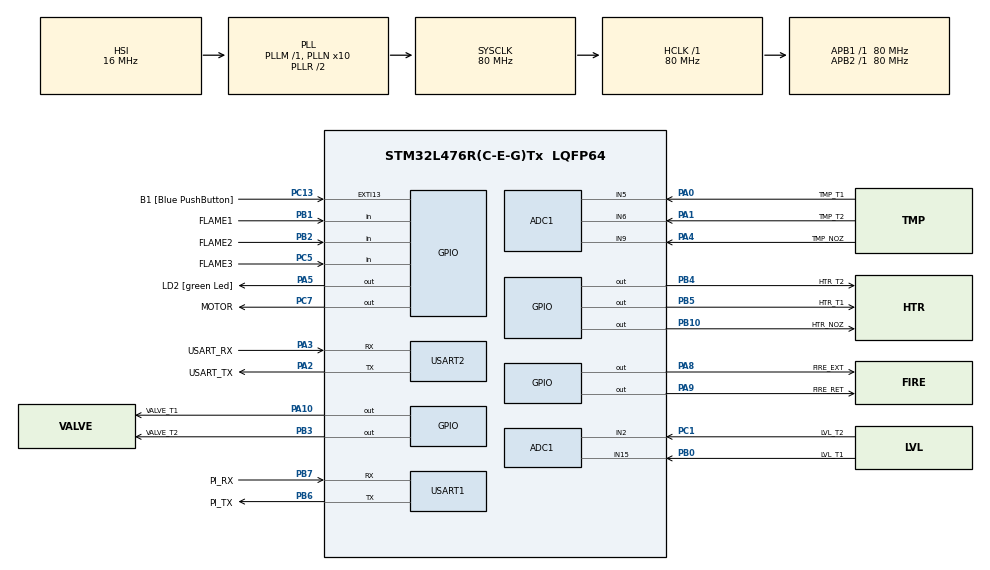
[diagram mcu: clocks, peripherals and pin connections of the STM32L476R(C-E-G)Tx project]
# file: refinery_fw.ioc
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Mcu.Family=STM32L4
Mcu.Name=STM32L476R(C-E-G)Tx
Mcu.Package=LQFP64
ADC1.Channel-0\#ChannelRegularConversion=ADC_CHANNEL_5
ADC1.Channel-1\#ChannelRegularConversion=ADC_CHANNEL_6
ADC1.Channel-2\#ChannelRegularConversion=ADC_CHANNEL_9
ADC1.Channel-3\#ChannelRegularConversion=ADC_CHANNEL_15
ADC1.Channel-4\#ChannelRegularConversion=ADC_CHANNEL_2
ADC1.ClockPrescaler=ADC_CLOCK_SYNC_PCLK_DIV4
ADC1.EOCSelection=ADC_EOC_SINGLE_CONV
ADC1.NbrOfConversion=5
ADC1.NbrOfConversionFlag=1
ADC1.OffsetNumber-0\#ChannelRegularConversion=ADC_OFFSET_NONE
ADC1.OffsetNumber-1\#ChannelRegularConversion=ADC_OFFSET_NONE
ADC1.OffsetNumber-2\#ChannelRegularConversion=ADC_OFFSET_NONE
ADC1.OffsetNumber-3\#ChannelRegularConversion=ADC_OFFSET_NONE
ADC1.OffsetNumber-4\#ChannelRegularConversion=ADC_OFFSET_NONE
ADC1.Rank-0\#ChannelRegularConversion=1
ADC1.Rank-1\#ChannelRegularConversion=2
ADC1.Rank-2\#ChannelRegularConversion=3
ADC1.Rank-3\#ChannelRegularConversion=4
ADC1.Rank-4\#ChannelRegularConversion=5
ADC1.SamplingTime-0\#ChannelRegularConversion=ADC_SAMPLETIME_640CYCLES_5
ADC1.SamplingTime-1\#ChannelRegularConversion=ADC_SAMPLETIME_640CYCLES_5
ADC1.SamplingTime-2\#ChannelRegularConversion=ADC_SAMPLETIME_640CYCLES_5
ADC1.SamplingTime-3\#ChannelRegularConversion=ADC_SAMPLETIME_640CYCLES_5
ADC1.SamplingTime-4\#ChannelRegularConversion=ADC_SAMPLETIME_640CYCLES_5
ADC1.ScanConvMode=ADC_SCAN_ENABLE
ADC1.SingleDiff-0\#ChannelRegularConversion=ADC_SINGLE_ENDED
ADC1.SingleDiff-1\#ChannelRegularConversion=ADC_SINGLE_ENDED
ADC1.SingleDiff-2\#ChannelRegularConversion=ADC_SINGLE_ENDED
ADC1.SingleDiff-3\#ChannelRegularConversion=ADC_SINGLE_ENDED
ADC1.SingleDiff-4\#ChannelRegularConversion=ADC_SINGLE_ENDED
ADC1.master=1
NVIC.PriorityGroup=NVIC_PRIORITYGROUP_4
NVIC.USART1_IRQn=true\:0\:0\:false\:false\:true\:true\:true\:true
NVIC.USART2_IRQn=true\:0\:0\:false\:false\:true\:true\:true\:true
PA13\ (JTMS-SWDIO).GPIO_Label=TMS
PA13\ (JTMS-SWDIO).Mode=Serial_Wire
PA13\ (JTMS-SWDIO).Signal=SYS_JTMS-SWDIO
PA14\ (JTCK-SWCLK).GPIO_Label=TCK
PA14\ (JTCK-SWCLK).Mode=Serial_Wire
PA14\ (JTCK-SWCLK).Signal=SYS_JTCK-SWCLK
PA2.GPIO_Label=USART_TX
PA2.GPIO_Mode=GPIO_MODE_AF_PP
PA2.GPIO_PuPd=GPIO_NOPULL
PA2.GPIO_Speed=GPIO_SPEED_FREQ_VERY_HIGH
PA2.Mode=Asynchronous
PA2.Signal=USART2_TX
PA3.GPIO_Label=USART_RX
PA3.GPIO_Mode=GPIO_MODE_AF_PP
PA3.GPIO_PuPd=GPIO_NOPULL
PA3.GPIO_Speed=GPIO_SPEED_FREQ_VERY_HIGH
PA3.Mode=Asynchronous
PA3.Signal=USART2_RX
PA8.GPIO_Label=FIRE_EXT
PA8.GPIO_ModeDefaultOutputPP=GPIO_MODE_OUTPUT_PP
PA8.GPIO_PuPd=GPIO_NOPULL
PA8.GPIO_Speed=GPIO_SPEED_FREQ_LOW
PA8.Signal=GPIO_Output
PA9.GPIO_Label=FIRE_RET
PA9.GPIO_ModeDefaultOutputPP=GPIO_MODE_OUTPUT_PP
PA9.GPIO_PuPd=GPIO_NOPULL
PA9.GPIO_Speed=GPIO_SPEED_FREQ_LOW
PA9.Signal=GPIO_Output
PA0.GPIO_Label=TMP_T1
PA0.Mode=IN5-Single-Ended
PA0.Signal=ADC1_IN5
PA1.GPIO_Label=TMP_T2
PA1.Mode=IN6-Single-Ended
PA1.Signal=ADC1_IN6
PA4.GPIO_Label=TMP_NOZ
PA4.Mode=IN9-Single-Ended
PA4.Signal=ADC1_IN9
PA10.GPIO_Label=VALVE_T1
PA10.GPIO_ModeDefaultOutputPP=GPIO_MODE_OUTPUT_PP
PA10.GPIO_PuPd=GPIO_NOPULL
PA10.GPIO_Speed=GPIO_SPEED_FREQ_LOW
PA10.Signal=GPIO_Output
PB0.GPIO_Label=LVL_T1
PB0.Mode=IN15-Single-Ended
PB0.Signal=ADC1_IN15
PC1.GPIO_Label=LVL_T2
PC1.Mode=IN2-Single-Ended
PC1.Signal=ADC1_IN2
PB5.GPIO_Label=HTR_T1
PB5.GPIO_ModeDefaultOutputPP=GPIO_MODE_OUTPUT_PP
PB5.GPIO_PuPd=GPIO_NOPULL
PB5.GPIO_Speed=GPIO_SPEED_FREQ_LOW
PB5.Signal=GPIO_Output
PB4.GPIO_Label=HTR_T2
PB4.GPIO_ModeDefaultOutputPP=GPIO_MODE_OUTPUT_PP
PB4.GPIO_PuPd=GPIO_NOPULL
PB4.GPIO_Speed=GPIO_SPEED_FREQ_LOW
PB4.Signal=GPIO_Output
PB10.GPIO_Label=HTR_NOZ
PB10.GPIO_ModeDefaultOutputPP=GPIO_MODE_OUTPUT_PP
PB10.GPIO_PuPd=GPIO_NOPULL
PB10.GPIO_Speed=GPIO_SPEED_FREQ_LOW
PB10.Signal=GPIO_Output
PB6.GPIO_Label=PI_TX
PB6.Mode=Asynchronous
PB6.Signal=USART1_TX
PB7.GPIO_Label=PI_RX
PB7.Mode=Asynchronous
PB7.Signal=USART1_RX
PC7.GPIO_Label=MOTOR
PC7.GPIO_ModeDefaultOutputPP=GPIO_MODE_OUTPUT_PP
PC7.GPIO_PuPd=GPIO_NOPULL
PC7.GPIO_Speed=GPIO_SPEED_FREQ_LOW
PC7.Signal=GPIO_Output
PB1.GPIO_Label=FLAME1
PB1.GPIO_PuPd=GPIO_PULLUP
PB1.Signal=GPIO_Input
PB2.GPIO_Label=FLAME2
PB2.GPIO_PuPd=GPIO_PULLUP
PB2.Signal=GPIO_Input
PC5.GPIO_Label=FLAME3
PC5.GPIO_PuPd=GPIO_PULLUP
PC5.Signal=GPIO_Input
PB3.GPIO_Label=VALVE_T2
PB3.GPIO_ModeDefaultOutputPP=GPIO_MODE_OUTPUT_PP
PB3.GPIO_PuPd=GPIO_NOPULL
PB3.GPIO_Speed=GPIO_SPEED_FREQ_LOW
PB3.Signal=GPIO_Output
PA5.GPIO_Label=LD2 [green Led]
PA5.GPIO_ModeDefaultOutputPP=GPIO_MODE_OUTPUT_PP
PA5.GPIO_PuPd=GPIO_NOPULL
PA5.GPIO_Speed=GPIO_SPEED_FREQ_LOW
PA5.Signal=GPIO_Output
PC13.GPIO_Label=B1 [Blue PushButton]
PC13.GPIO_ModeDefaultEXTI=GPIO_MODE_IT_FALLING
PC13.GPIO_PuPd=GPIO_NOPULL
PC13.Signal=GPXTI13
PC14-OSC32_IN\ (PC14).Mode=LSE-External-Oscillator
PC14-OSC32_IN\ (PC14).Signal=RCC_OSC32_IN
PC15-OSC32_OUT\ (PC15).Mode=LSE-External-Oscillator
PC15-OSC32_OUT\ (PC15).Signal=RCC_OSC32_OUT
PH0-OSC_IN\ (PH0).Signal=RCC_OSC_IN
PH1-OSC_OUT\ (PH1).Signal=RCC_OSC_OUT
ProjectManager.HeapSize=0x200
ProjectManager.StackSize=0x400
ProjectManager.TargetToolchain=STM32CubeIDE
RCC.ADCFreq_Value=64000000
RCC.AHBFreq_Value=80000000
RCC.APB1Freq_Value=80000000
RCC.APB1TimFreq_Value=80000000
RCC.APB2Freq_Value=80000000
RCC.APB2TimFreq_Value=80000000
RCC.CortexFreq_Value=80000000
RCC.HCLKFreq_Value=80000000
RCC.HSE_VALUE=8000000
RCC.HSI_VALUE=16000000
RCC.MSI_VALUE=4000000
RCC.PLLN=10
RCC.PLLSourceVirtual=RCC_PLLSOURCE_HSI
RCC.PREFETCH_ENABLE=1
RCC.SYSCLKFreq_VALUE=80000000
RCC.SYSCLKSource=RCC_SYSCLKSOURCE_PLLCLK
RCC.USBFreq_Value=64000000
RCC.VCOOutputFreq_Value=160000000
USART1.VirtualMode-Asynchronous=VM_ASYNC
USART2.VirtualMode-Asynchronous=VM_ASYNC
board=NUCLEO-L476RG

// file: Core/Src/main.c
/* USER CODE BEGIN Header */
/**
  ******************************************************************************
  * @file           : main.c
  * @brief          : Main program body
  ******************************************************************************
  * @attention
  *
  * Copyright (c) 2026 STMicroelectronics.
  * All rights reserved.
  *
  * This software is licensed under terms that can be found in the LICENSE file
  * in the root directory of this software component.
  * If no LICENSE file comes with this software, it is provided AS-IS.
  *
  ******************************************************************************
  */
/* USER CODE END Header */
#include "main.h"

/* USER CODE BEGIN Includes */
#include <stdio.h>
#include <string.h>
#include <math.h>
#include "control.h"
#include "proto.h"
/* USER CODE END Includes */

/* USER CODE BEGIN PD */
#define ADC_MAX        4095.0f
#define R_FIXED        10000.0f   /* temp divider resistor to GND (ohm) */
#define NTC_R25        10000.0f   /* NTC3950 nominal at 25 C */
#define NTC_BETA       3950.0f
#define NTC_T25_K      298.15f
#define N_SAMPLES      16
#define N_CH           5          /* T1, T2, NOZ, LVL1, LVL2 (ADC rank order) */
#define LVL_R_FIXED    100.0f     /* level divider resistor to GND (ohm) */
#define LVL_R_EMPTY    240.0f     /* American/SAE sender: 240 ohm = empty */
#define LVL_R_FULL     33.0f      /*                       33 ohm  = full  */

/* Flame sensors are not wired yet: 0 = ignore PB1/PB2/PC5 (inputs read as "no flame") and report
 * fire detection as OFF in the status line. Set to 1 once all three sensors are wired and tested. */
#define FLAME_SENSORS_ENABLED  0

#define SAMPLE_MS      100        /* sensor read + control step period */
#define STATUS_MS      1000       /* status line period (REQ-PERF-030) */
#define STATUS_MIN_MS  200        /* earliest extra status line after a change */
#define SAVE_DELAY_MS  5000       /* settings are written this long after the last change */
#define RX_QUEUE       4          /* received command lines waiting for the main loop */
#define UART_TIMEOUT   100

/* Operator settings live here so they survive a reset / power cycle.
 * Last 2K page of bank 2 - kept out of the FLASH region in STM32L476RGTX_FLASH.ld. */
#define STATE_ADDR     0x080FF800UL
#define STATE_BANK     FLASH_BANK_2
#define STATE_PAGE     255
#define STATE_MAGIC    0x57565331UL  /* "WVS1" in the upper word of the first doubleword */
/* USER CODE END PD */

ADC_HandleTypeDef hadc1;

UART_HandleTypeDef huart1;
UART_HandleTypeDef huart2;

/* USER CODE BEGIN PV */
static uint32_t adc_raw[N_CH]; /* T1 A0/PA0, T2 A1/PA1, NOZ A2/PA4, LVL1 A3/PB0, LVL2 A4/PC1 */

static ctl_t ctl;
static ctl_inputs_t inputs;

/* Command lines from the RPi (filled by the USART1 RX interrupt) */
static uint8_t rx_byte;
static char rx_buf[PROTO_LINE_MAX];
static uint8_t rx_len;
static char rx_queue[RX_QUEUE][PROTO_LINE_MAX];
static volatile uint8_t rx_head, rx_tail;

/* Outputs, indexed by bit number of the OUT_* masks in control.h.
 * on_level = pin level that turns the device ON. Relay boards assumed active-HIGH;
 * change to GPIO_PIN_RESET if one turns out to be active-LOW. */
typedef struct {
  GPIO_TypeDef  *port;
  uint16_t       pin;
  GPIO_PinState  on_level;
} Output_t;

static const Output_t outputs[8] = {
  { VALVE_T1_GPIO_Port, VALVE_T1_Pin, GPIO_PIN_SET },   /* OUT_V1 */
  { VALVE_T2_GPIO_Port, VALVE_T2_Pin, GPIO_PIN_SET },   /* OUT_V2 */
  { HTR_T1_GPIO_Port,   HTR_T1_Pin,   GPIO_PIN_SET },   /* OUT_H1 */
  { HTR_T2_GPIO_Port,   HTR_T2_Pin,   GPIO_PIN_SET },   /* OUT_H2 */
  { HTR_NOZ_GPIO_Port,  HTR_NOZ_Pin,  GPIO_PIN_SET },   /* OUT_HNOZ */
  { MOTOR_GPIO_Port,    MOTOR_Pin,    GPIO_PIN_SET },   /* OUT_CENT */
  { FIRE_EXT_GPIO_Port, FIRE_EXT_Pin, GPIO_PIN_SET },   /* OUT_EXT */
  { FIRE_RET_GPIO_Port, FIRE_RET_Pin, GPIO_PIN_SET },   /* OUT_RET */
};

/* Flame sensors (LM393 boards): output pulled LOW when they see flame */
static const struct { GPIO_TypeDef *port; uint16_t pin; } flames[3] = {
  { FLAME1_GPIO_Port, FLAME1_Pin },
  { FLAME2_GPIO_Port, FLAME2_Pin },
  { FLAME3_GPIO_Port, FLAME3_Pin },
};
/* USER CODE END PV */

void SystemClock_Config(void);
static void MX_GPIO_Init(void);
static void MX_USART2_UART_Init(void);
static void MX_ADC1_Init(void);
static void MX_USART1_UART_Init(void);

/* USER CODE BEGIN 0 */
/* Route printf to USART2 (ST-LINK virtual COM port) - debug only, the Pi link is USART1 */
int __io_putchar(int ch)
{
  uint8_t c = (uint8_t)ch;
  HAL_UART_Transmit(&huart2, &c, 1, HAL_MAX_DELAY);
  return ch;
}

/* Drive every output from a bit mask. Extend and retract are both written low first,
 * so the two extinguisher relays are never on together even for one write. */
static void apply_outputs(uint8_t bits)
{
  if (bits & OUT_EXT) bits &= (uint8_t)~OUT_RET;
  for (int pass = 0; pass < 2; pass++)
  {
    for (size_t i = 0; i < 8; i++)
    {
      int on = (bits >> i) & 1U;
      if (on != pass) continue;                       /* pass 0: turn things off, pass 1: on */
      GPIO_PinState off_level = (outputs[i].on_level == GPIO_PIN_SET) ? GPIO_PIN_RESET : GPIO_PIN_SET;
      HAL_GPIO_WritePin(outputs[i].port, outputs[i].pin, on ? outputs[i].on_level : off_level);
    }
  }
}

static uint8_t read_flames(void)
{
  uint8_t bits = 0;
  if (!FLAME_SENSORS_ENABLED) return 0;
  for (int i = 0; i < 3; i++)
  {
    if (HAL_GPIO_ReadPin(flames[i].port, flames[i].pin) == GPIO_PIN_RESET) bits |= (uint8_t)(1U << i);
  }
  return bits;
}

/* Average N_SAMPLES scans of the N_CH channels (order = ADC rank order) */
static void read_channels(uint32_t out[N_CH])
{
  uint32_t sum[N_CH] = {0};
  for (int n = 0; n < N_SAMPLES; n++)
  {
    for (int ch = 0; ch < N_CH; ch++)
    {
      HAL_ADC_Start(&hadc1);
      HAL_ADC_PollForConversion(&hadc1, 10);
      sum[ch] += HAL_ADC_GetValue(&hadc1);
    }
    HAL_ADC_Stop(&hadc1);
  }
  for (int ch = 0; ch < N_CH; ch++) out[ch] = sum[ch] / N_SAMPLES;
}

/* Temp divider: 3.3V -> NTC -> node(ADC) -> 10k -> GND
 * R_ntc = R_FIXED*(4095-raw)/raw, then Beta equation. Returns tenths of a degree F. */
static int16_t temp_f10(uint32_t raw)
{
  if (raw < 10 || raw > 4085) return CTL_NO_READING;  /* open / short */
  float r_ntc = R_FIXED * (ADC_MAX - (float)raw) / (float)raw;
  float t_k   = 1.0f / (1.0f / NTC_T25_K + logf(r_ntc / NTC_R25) / NTC_BETA);
  float t_f   = (t_k - 273.15f) * 9.0f / 5.0f + 32.0f;
  return (int16_t)lroundf(t_f * 10.0f);
}

/* Level divider: 3.3V -> sender -> node(ADC) -> 100 ohm -> GND
 * Fill % assumes resistance linear with float position (UNVERIFIED - see test_code/notes.txt).
 * Returns tenths of a percent, not clamped, so the calibration offset stays visible. */
static int16_t level_x10(uint32_t raw)
{
  if (raw < 10 || raw > 4085) return CTL_NO_READING;
  float r_s  = LVL_R_FIXED * (ADC_MAX - (float)raw) / (float)raw;
  float fill = (LVL_R_EMPTY - r_s) / (LVL_R_EMPTY - LVL_R_FULL) * 100.0f;
  return (int16_t)lroundf(fill * 10.0f);
}

static void read_inputs(ctl_inputs_t *in)
{
  read_channels(adc_raw);
  for (int i = 0; i < 3; i++) in->temp_f10[i] = temp_f10(adc_raw[i]);
  for (int i = 0; i < 2; i++) in->level_x10[i] = level_x10(adc_raw[3 + i]);
  in->flame = read_flames();
}

/* Settings record: dw0 = magic<<32 | noz<<16 | preset2<<8 | preset1, dw1 = timer2<<32 | timer1 */
static int load_settings(ctl_settings_t *s)
{
  uint64_t dw0 = *(volatile const uint64_t *)STATE_ADDR;
  uint64_t dw1 = *(volatile const uint64_t *)(STATE_ADDR + 8);
  if ((uint32_t)(dw0 >> 32) != STATE_MAGIC) return 0;
  s->temp_preset[0] = (uint16_t)(dw0 & 0xFF);
  s->temp_preset[1] = (uint16_t)((dw0 >> 8) & 0xFF);
  s->noz_f          = (uint16_t)((dw0 >> 16) & 0xFF);
  s->timer_s[0]     = (uint32_t)dw1;
  s->timer_s[1]     = (uint32_t)(dw1 >> 32);
  return 1;
}

/* Write the settings to flash (only if they changed). Returns 0 on success. */
static int save_settings(const ctl_settings_t *s)
{
  uint64_t dw0 = ((uint64_t)STATE_MAGIC << 32) | ((uint64_t)s->noz_f << 16)
               | ((uint64_t)s->temp_preset[1] << 8) | s->temp_preset[0];
  uint64_t dw1 = ((uint64_t)s->timer_s[1] << 32) | s->timer_s[0];
  if (*(volatile const uint64_t *)STATE_ADDR == dw0 && *(volatile const uint64_t *)(STATE_ADDR + 8) == dw1)
    return 0;

  FLASH_EraseInitTypeDef erase = {
    .TypeErase = FLASH_TYPEERASE_PAGES,
    .Banks     = STATE_BANK,
    .Page      = STATE_PAGE,
    .NbPages   = 1,
  };
  uint32_t bad_page;
  HAL_StatusTypeDef st;

  HAL_FLASH_Unlock();
  __HAL_FLASH_CLEAR_FLAG(FLASH_FLAG_ALL_ERRORS);     /* stale flags (e.g. PGSERR) block programming */
  st = HAL_FLASHEx_Erase(&erase, &bad_page);
  if (st == HAL_OK) st = HAL_FLASH_Program(FLASH_TYPEPROGRAM_DOUBLEWORD, STATE_ADDR, dw0);
  if (st == HAL_OK) st = HAL_FLASH_Program(FLASH_TYPEPROGRAM_DOUBLEWORD, STATE_ADDR + 8, dw1);
  HAL_FLASH_Lock();
  return (st == HAL_OK) ? 0 : -1;
}

/* Send a line to the Pi, and mirror it to the ST-LINK port for debugging */
static void send_line(const char *s, size_t n)
{
  if (n == 0) return;
  HAL_UART_Transmit(&huart1, (const uint8_t *)s, (uint16_t)n, UART_TIMEOUT);
  HAL_UART_Transmit(&huart2, (const uint8_t *)s, (uint16_t)n, UART_TIMEOUT);
}
/* USER CODE END 0 */

int main(void)
{

  /* MCU Configuration--------------------------------------------------------*/

  /* Reset of all peripherals, Initializes the Flash interface and the Systick. */
  HAL_Init();

  /* Configure the system clock */
  SystemClock_Config();

  /* Initialize all configured peripherals */
  MX_GPIO_Init();
  MX_USART2_UART_Init();
  MX_ADC1_Init();
  MX_USART1_UART_Init();
  /* USER CODE BEGIN 2 */
  /* All outputs off; every tank idle and every override off after a reset.
   * Only the operator settings come back from flash. */
  apply_outputs(0);
  ctl_settings_t saved;
  ctl_init(&ctl, load_settings(&saved) ? &saved : NULL);
  ctl.flame_off = !FLAME_SENSORS_ENABLED;
  ctl_settings_t last_saved = ctl.set;
  if (HAL_ADCEx_Calibration_Start(&hadc1, ADC_SINGLE_ENDED) != HAL_OK)
  {
    Error_Handler();
  }
  HAL_UART_Receive_IT(&huart1, &rx_byte, 1);         /* start interrupt-driven command input (RPi) */

  uint32_t seq = 0;
  uint32_t last_sample = HAL_GetTick() - SAMPLE_MS;
  uint32_t last_status = 0;
  uint32_t settings_changed = 0;
  int settings_dirty = 0;
  char line[PROTO_LINE_MAX + 64];
  /* USER CODE END 2 */

  /* Infinite loop */
  while (1)
  {

    /* USER CODE BEGIN 3 */
    uint32_t now = HAL_GetTick();

    /* Commands from the Pi: apply, then ack */
    while (rx_tail != rx_head)
    {
      char cmd[PROTO_LINE_MAX];
      memcpy(cmd, rx_queue[rx_tail], sizeof cmd);
      rx_tail = (uint8_t)((rx_tail + 1) % RX_QUEUE);
      send_line(line, proto_handle_line(&ctl, now, cmd, line, sizeof line));
    }

    if (now - last_sample >= SAMPLE_MS)
    {
      last_sample = now;
      read_inputs(&inputs);
      ctl_step(&ctl, now, &inputs);
      apply_outputs(ctl.out);
    }

    /* Status once a second, and soon after anything changes */
    if (now - last_status >= STATUS_MS || (ctl.changed && now - last_status >= STATUS_MIN_MS))
    {
      ctl.changed = 0;
      last_status = now;
      send_line(line, proto_status(&ctl, now, &inputs, seq++, line, sizeof line));
    }

    /* Save settings a few seconds after the operator stops changing them (saves flash wear) */
    if (memcmp(&ctl.set, &last_saved, sizeof last_saved) != 0)
    {
      settings_dirty = 1;
      settings_changed = now;
      last_saved = ctl.set;
    }
    if (settings_dirty && now - settings_changed >= SAVE_DELAY_MS)
    {
      settings_dirty = 0;
      if (save_settings(&ctl.set) != 0) printf("settings NOT saved to flash\r\n");
    }
  }
  /* USER CODE END 3 */
}

void SystemClock_Config(void)
{
  RCC_OscInitTypeDef RCC_OscInitStruct = {0};
  RCC_ClkInitTypeDef RCC_ClkInitStruct = {0};

  /** Configure the main internal regulator output voltage
  */
  if (HAL_PWREx_ControlVoltageScaling(PWR_REGULATOR_VOLTAGE_SCALE1) != HAL_OK)
  {
    Error_Handler();
  }

  /** Initializes the RCC Oscillators according to the specified parameters
  * in the RCC_OscInitTypeDef structure.
  */
  RCC_OscInitStruct.OscillatorType = RCC_OSCILLATORTYPE_HSI;
  RCC_OscInitStruct.HSIState = RCC_HSI_ON;
  RCC_OscInitStruct.HSICalibrationValue = RCC_HSICALIBRATION_DEFAULT;
  RCC_OscInitStruct.PLL.PLLState = RCC_PLL_ON;
  RCC_OscInitStruct.PLL.PLLSource = RCC_PLLSOURCE_HSI;
  RCC_OscInitStruct.PLL.PLLM = 1;
  RCC_OscInitStruct.PLL.PLLN = 10;
  RCC_OscInitStruct.PLL.PLLP = RCC_PLLP_DIV7;
  RCC_OscInitStruct.PLL.PLLQ = RCC_PLLQ_DIV2;
  RCC_OscInitStruct.PLL.PLLR = RCC_PLLR_DIV2;
  if (HAL_RCC_OscConfig(&RCC_OscInitStruct) != HAL_OK)
  {
    Error_Handler();
  }

  /** Initializes the CPU, AHB and APB buses clocks
  */
  RCC_ClkInitStruct.ClockType = RCC_CLOCKTYPE_HCLK|RCC_CLOCKTYPE_SYSCLK
                              |RCC_CLOCKTYPE_PCLK1|RCC_CLOCKTYPE_PCLK2;
  RCC_ClkInitStruct.SYSCLKSource = RCC_SYSCLKSOURCE_PLLCLK;
  RCC_ClkInitStruct.AHBCLKDivider = RCC_SYSCLK_DIV1;
  RCC_ClkInitStruct.APB1CLKDivider = RCC_HCLK_DIV1;
  RCC_ClkInitStruct.APB2CLKDivider = RCC_HCLK_DIV1;

  if (HAL_RCC_ClockConfig(&RCC_ClkInitStruct, FLASH_LATENCY_4) != HAL_OK)
  {
    Error_Handler();
  }
}

static void MX_ADC1_Init(void)
{

  ADC_ChannelConfTypeDef sConfig = {0};

  /** Common config
  */
  hadc1.Instance = ADC1;
  hadc1.Init.ClockPrescaler = ADC_CLOCK_SYNC_PCLK_DIV4;
  hadc1.Init.Resolution = ADC_RESOLUTION_12B;
  hadc1.Init.DataAlign = ADC_DATAALIGN_RIGHT;
  hadc1.Init.ScanConvMode = ADC_SCAN_ENABLE;
  hadc1.Init.EOCSelection = ADC_EOC_SINGLE_CONV;
  hadc1.Init.LowPowerAutoWait = DISABLE;
  hadc1.Init.ContinuousConvMode = DISABLE;
  hadc1.Init.NbrOfConversion = 5;
  hadc1.Init.DiscontinuousConvMode = DISABLE;
  hadc1.Init.ExternalTrigConv = ADC_SOFTWARE_START;
  hadc1.Init.ExternalTrigConvEdge = ADC_EXTERNALTRIGCONVEDGE_NONE;
  hadc1.Init.DMAContinuousRequests = DISABLE;
  hadc1.Init.Overrun = ADC_OVR_DATA_PRESERVED;
  hadc1.Init.OversamplingMode = DISABLE;
  if (HAL_ADC_Init(&hadc1) != HAL_OK)
  {
    Error_Handler();
  }

  /** Configure Regular Channel
  */
  sConfig.Channel = ADC_CHANNEL_5;
  sConfig.Rank = ADC_REGULAR_RANK_1;
  sConfig.SamplingTime = ADC_SAMPLETIME_640CYCLES_5;
  sConfig.SingleDiff = ADC_SINGLE_ENDED;
  sConfig.OffsetNumber = ADC_OFFSET_NONE;
  sConfig.Offset = 0;
  if (HAL_ADC_ConfigChannel(&hadc1, &sConfig) != HAL_OK)
  {
    Error_Handler();
  }

  /** Configure Regular Channel
  */
  sConfig.Channel = ADC_CHANNEL_6;
  sConfig.Rank = ADC_REGULAR_RANK_2;
  if (HAL_ADC_ConfigChannel(&hadc1, &sConfig) != HAL_OK)
  {
    Error_Handler();
  }

  /** Configure Regular Channel
  */
  sConfig.Channel = ADC_CHANNEL_9;
  sConfig.Rank = ADC_REGULAR_RANK_3;
  if (HAL_ADC_ConfigChannel(&hadc1, &sConfig) != HAL_OK)
  {
    Error_Handler();
  }

  /** Configure Regular Channel
  */
  sConfig.Channel = ADC_CHANNEL_15;
  sConfig.Rank = ADC_REGULAR_RANK_4;
  if (HAL_ADC_ConfigChannel(&hadc1, &sConfig) != HAL_OK)
  {
    Error_Handler();
  }

  /** Configure Regular Channel
  */
  sConfig.Channel = ADC_CHANNEL_2;
  sConfig.Rank = ADC_REGULAR_RANK_5;
  if (HAL_ADC_ConfigChannel(&hadc1, &sConfig) != HAL_OK)
  {
    Error_Handler();
  }

}

static void MX_USART1_UART_Init(void)
{

  huart1.Instance = USART1;
  huart1.Init.BaudRate = 115200;
  huart1.Init.WordLength = UART_WORDLENGTH_8B;
  huart1.Init.StopBits = UART_STOPBITS_1;
  huart1.Init.Parity = UART_PARITY_NONE;
  huart1.Init.Mode = UART_MODE_TX_RX;
  huart1.Init.HwFlowCtl = UART_HWCONTROL_NONE;
  huart1.Init.OverSampling = UART_OVERSAMPLING_16;
  huart1.Init.OneBitSampling = UART_ONE_BIT_SAMPLE_DISABLE;
  huart1.AdvancedInit.AdvFeatureInit = UART_ADVFEATURE_NO_INIT;
  if (HAL_UART_Init(&huart1) != HAL_OK)
  {
    Error_Handler();
  }

}

static void MX_USART2_UART_Init(void)
{

  huart2.Instance = USART2;
  huart2.Init.BaudRate = 115200;
  huart2.Init.WordLength = UART_WORDLENGTH_8B;
  huart2.Init.StopBits = UART_STOPBITS_1;
  huart2.Init.Parity = UART_PARITY_NONE;
  huart2.Init.Mode = UART_MODE_TX_RX;
  huart2.Init.HwFlowCtl = UART_HWCONTROL_NONE;
  huart2.Init.OverSampling = UART_OVERSAMPLING_16;
  huart2.Init.OneBitSampling = UART_ONE_BIT_SAMPLE_DISABLE;
  huart2.AdvancedInit.AdvFeatureInit = UART_ADVFEATURE_NO_INIT;
  if (HAL_UART_Init(&huart2) != HAL_OK)
  {
    Error_Handler();
  }

}

static void MX_GPIO_Init(void)
{
  GPIO_InitTypeDef GPIO_InitStruct = {0};

  /* GPIO Ports Clock Enable */
  __HAL_RCC_GPIOC_CLK_ENABLE();
  __HAL_RCC_GPIOH_CLK_ENABLE();
  __HAL_RCC_GPIOA_CLK_ENABLE();
  __HAL_RCC_GPIOB_CLK_ENABLE();

  /*Configure GPIO pin Output Level */
  HAL_GPIO_WritePin(GPIOA, LD2_Pin|FIRE_EXT_Pin|FIRE_RET_Pin|VALVE_T1_Pin, GPIO_PIN_RESET);

  /*Configure GPIO pin Output Level */
  HAL_GPIO_WritePin(GPIOB, VALVE_T2_Pin|HTR_T1_Pin|HTR_T2_Pin|HTR_NOZ_Pin, GPIO_PIN_RESET);

  /*Configure GPIO pin Output Level */
  HAL_GPIO_WritePin(MOTOR_GPIO_Port, MOTOR_Pin, GPIO_PIN_RESET);

  /*Configure GPIO pin : B1_Pin */
  GPIO_InitStruct.Pin = B1_Pin;
  GPIO_InitStruct.Mode = GPIO_MODE_IT_FALLING;
  GPIO_InitStruct.Pull = GPIO_NOPULL;
  HAL_GPIO_Init(B1_GPIO_Port, &GPIO_InitStruct);

  /*Configure GPIO pins : LD2_Pin FIRE_EXT_Pin FIRE_RET_Pin VALVE_T1_Pin */
  GPIO_InitStruct.Pin = LD2_Pin|FIRE_EXT_Pin|FIRE_RET_Pin|VALVE_T1_Pin;
  GPIO_InitStruct.Mode = GPIO_MODE_OUTPUT_PP;
  GPIO_InitStruct.Pull = GPIO_NOPULL;
  GPIO_InitStruct.Speed = GPIO_SPEED_FREQ_LOW;
  HAL_GPIO_Init(LD2_GPIO_Port, &GPIO_InitStruct);

  /*Configure GPIO pins : VALVE_T2_Pin HTR_T1_Pin HTR_T2_Pin HTR_NOZ_Pin */
  GPIO_InitStruct.Pin = VALVE_T2_Pin|HTR_T1_Pin|HTR_T2_Pin|HTR_NOZ_Pin;
  GPIO_InitStruct.Mode = GPIO_MODE_OUTPUT_PP;
  GPIO_InitStruct.Pull = GPIO_NOPULL;
  GPIO_InitStruct.Speed = GPIO_SPEED_FREQ_LOW;
  HAL_GPIO_Init(GPIOB, &GPIO_InitStruct);

  /*Configure GPIO pin : MOTOR_Pin */
  GPIO_InitStruct.Pin = MOTOR_Pin;
  GPIO_InitStruct.Mode = GPIO_MODE_OUTPUT_PP;
  GPIO_InitStruct.Pull = GPIO_NOPULL;
  GPIO_InitStruct.Speed = GPIO_SPEED_FREQ_LOW;
  HAL_GPIO_Init(MOTOR_GPIO_Port, &GPIO_InitStruct);

  /*Configure GPIO pins : FLAME1_Pin FLAME2_Pin */
  GPIO_InitStruct.Pin = FLAME1_Pin|FLAME2_Pin;
  GPIO_InitStruct.Mode = GPIO_MODE_INPUT;
  GPIO_InitStruct.Pull = GPIO_PULLUP;
  HAL_GPIO_Init(GPIOB, &GPIO_InitStruct);

  /*Configure GPIO pin : FLAME3_Pin */
  GPIO_InitStruct.Pin = FLAME3_Pin;
  GPIO_InitStruct.Mode = GPIO_MODE_INPUT;
  GPIO_InitStruct.Pull = GPIO_PULLUP;
  HAL_GPIO_Init(FLAME3_GPIO_Port, &GPIO_InitStruct);

}

/* USER CODE BEGIN 4 */
/* USART1 RX interrupt: collect a line, queue it for the main loop */
void HAL_UART_RxCpltCallback(UART_HandleTypeDef *huart)
{
  if (huart->Instance == USART1)
  {
    char c = (char)rx_byte;
    if (c == '\r' || c == '\n')
    {
      uint8_t next = (uint8_t)((rx_head + 1) % RX_QUEUE);
      if (rx_len > 0 && next != rx_tail)              /* queue full: drop the line, the Pi retries */
      {
        rx_buf[rx_len] = '\0';
        memcpy(rx_queue[rx_head], rx_buf, (size_t)rx_len + 1);
        rx_head = next;
      }
      rx_len = 0;
    }
    else if (c == '$')                                /* a new line starts: drop any half line */
    {
      rx_buf[0] = c;
      rx_len = 1;
    }
    else if (c >= ' ' && rx_len < PROTO_LINE_MAX - 1)
    {
      rx_buf[rx_len++] = c;
    }
    HAL_UART_Receive_IT(huart, &rx_byte, 1);         /* re-arm for the next character */
  }
}

/* On any UART error (e.g. overrun) keep listening */
void HAL_UART_ErrorCallback(UART_HandleTypeDef *huart)
{
  if (huart->Instance == USART1)
  {
    rx_len = 0;
    HAL_UART_Receive_IT(huart, &rx_byte, 1);
  }
}
/* USER CODE END 4 */

void Error_Handler(void)
{
  __disable_irq();
  while (1)
  {
  }
}
